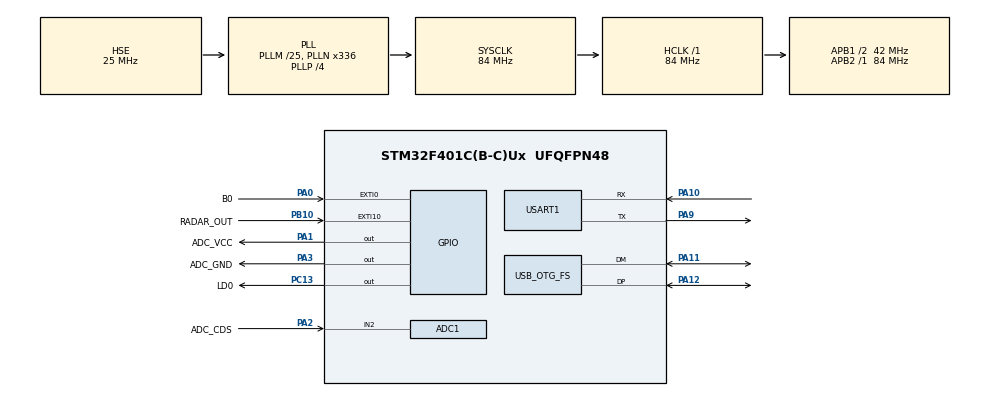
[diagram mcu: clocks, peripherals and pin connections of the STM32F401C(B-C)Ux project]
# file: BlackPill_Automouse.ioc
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ADC1.Channel-0\#ChannelRegularConversion=ADC_CHANNEL_TEMPSENSOR
ADC1.NbrOfConversionFlag=1
ADC1.Rank-0\#ChannelRegularConversion=1
ADC1.SamplingTime-0\#ChannelRegularConversion=ADC_SAMPLETIME_3CYCLES
ADC1.master=1
Mcu.Family=STM32F4
Mcu.Name=STM32F401C(B-C)Ux
Mcu.Package=UFQFPN48
NVIC.EXTI0_IRQn=true\:0\:0\:false\:false\:true\:true\:true\:true
NVIC.EXTI15_10_IRQn=true\:15\:0\:true\:false\:true\:true\:true\:true
NVIC.OTG_FS_IRQn=true\:0\:0\:false\:false\:true\:false\:true\:true
NVIC.PriorityGroup=NVIC_PRIORITYGROUP_4
NVIC.TIM1_TRG_COM_TIM11_IRQn=true\:15\:0\:false\:false\:true\:false\:true\:true
NVIC.TimeBase=TIM1_TRG_COM_TIM11_IRQn
NVIC.TimeBaseIP=TIM11
PA0-WKUP.GPIO_Label=B0
PA0-WKUP.GPIO_ModeDefaultEXTI=GPIO_MODE_IT_RISING_FALLING
PA0-WKUP.GPIO_PuPd=GPIO_PULLUP
PA0-WKUP.Signal=GPXTI0
PA1.GPIO_Label=ADC_VCC
PA1.Signal=GPIO_Output
PA10.Mode=Asynchronous
PA10.Signal=USART1_RX
PA11.Mode=Device_Only
PA11.Signal=USB_OTG_FS_DM
PA12.Mode=Device_Only
PA12.Signal=USB_OTG_FS_DP
PA13.Mode=Trace_Asynchronous_SW
PA13.Signal=SYS_JTMS-SWDIO
PA14.Mode=Trace_Asynchronous_SW
PA14.Signal=SYS_JTCK-SWCLK
PA2.GPIO_Label=ADC_CDS
PA2.Signal=ADCx_IN2
PA3.GPIO_Label=ADC_GND
PA3.Signal=GPIO_Output
PA9.Mode=Asynchronous
PA9.Signal=USART1_TX
PB10.GPIO_Label=RADAR_OUT
PB10.GPIO_ModeDefaultEXTI=GPIO_MODE_IT_RISING_FALLING
PB10.GPIO_PuPd=GPIO_PULLDOWN
PB10.Signal=GPXTI10
PB3.Mode=Trace_Asynchronous_SW
PB3.Signal=SYS_JTDO-SWO
PC13-ANTI_TAMP.GPIO_Label=LD0
PC13-ANTI_TAMP.Signal=GPIO_Output
PC14-OSC32_IN.Mode=LSE-External-Oscillator
PC14-OSC32_IN.Signal=RCC_OSC32_IN
PC15-OSC32_OUT.Mode=LSE-External-Oscillator
PC15-OSC32_OUT.Signal=RCC_OSC32_OUT
PH0\ -\ OSC_IN.Mode=HSE-External-Oscillator
PH0\ -\ OSC_IN.Signal=RCC_OSC_IN
PH1\ -\ OSC_OUT.Mode=HSE-External-Oscillator
PH1\ -\ OSC_OUT.Signal=RCC_OSC_OUT
ProjectManager.HeapSize=0x200
ProjectManager.StackSize=0x400
ProjectManager.TargetToolchain=STM32CubeIDE
RCC.48MHZClocksFreq_Value=48000000
RCC.AHBFreq_Value=84000000
RCC.APB1CLKDivider=RCC_HCLK_DIV2
RCC.APB1Freq_Value=42000000
RCC.APB1TimFreq_Value=84000000
RCC.APB2Freq_Value=84000000
RCC.APB2TimFreq_Value=84000000
RCC.CortexFreq_Value=84000000
RCC.EnbaleCSS=true
RCC.HCLKFreq_Value=84000000
RCC.HSE_VALUE=25000000
RCC.HSI_VALUE=16000000
RCC.PLLM=25
RCC.PLLN=336
RCC.PLLP=RCC_PLLP_DIV4
RCC.PLLQ=7
RCC.SYSCLKFreq_VALUE=84000000
RCC.SYSCLKSource=RCC_SYSCLKSOURCE_PLLCLK
RCC.VCOOutputFreq_Value=336000000
SH.ADCx_IN2.0=ADC1_IN2,IN2
USART1.VirtualMode=VM_ASYNC
USB_DEVICE.CLASS_NAME_FS=HID
USB_DEVICE.MANUFACTURER_STRING=Logitech
USB_DEVICE.PID_HID_FS=0xc521
USB_DEVICE.PRODUCT_STRING_HID_FS=USB Reciever
USB_DEVICE.VID=0x046D
USB_DEVICE.VirtualMode=Hid
USB_DEVICE.VirtualModeFS=Hid_FS
USB_OTG_FS.VirtualMode=Device_Only
VP_ADC1_TempSens_Input.Mode=IN-TempSens
VP_CRC_VS_CRC.Mode=CRC_Activate
VP_RTC_VS_RTC_Activate.Mode=RTC_Enabled
VP_SYS_VS_tim11.Mode=TIM11
VP_TIM5_VS_ClockSourceINT.Mode=Internal
VP_USB_DEVICE_VS_USB_DEVICE_HID_FS.Mode=HID_FS
board=custom

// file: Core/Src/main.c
/* USER CODE BEGIN Header */
/**
  ******************************************************************************
  * @file           : main.c
  * @brief          : Main program body
  ******************************************************************************
  * @attention
  *
  * Copyright (c) 2023 STMicroelectronics.
  * All rights reserved.
  *
  * This software is licensed under terms that can be found in the LICENSE file
  * in the root directory of this software component.
  * If no LICENSE file comes with this software, it is provided AS-IS.
  *
  ******************************************************************************
  */
/* USER CODE END Header */
#include "main.h"
#include "usb_device.h"

ADC_HandleTypeDef hadc1;

CRC_HandleTypeDef hcrc;

RTC_HandleTypeDef hrtc;

TIM_HandleTypeDef htim5;

UART_HandleTypeDef huart1;

void SystemClock_Config(void);
static void MX_GPIO_Init(void);
static void MX_ADC1_Init(void);
static void MX_CRC_Init(void);
static void MX_RTC_Init(void);
static void MX_TIM5_Init(void);
static void MX_USART1_UART_Init(void);

/* USER CODE BEGIN 0 */

#include "usbd_hid.h"
#include "math.h"

extern USBD_HandleTypeDef hUsbDeviceFS;

#define DEBUG_PRINT(...) do{\
	uint32_t tick = HAL_GetTick();\
	printf("[%6lu.%03lu]",tick/1000, tick%1000);\
	printf(__VA_ARGS__);\
	}while(0)

typedef struct {
	float x;
	float y;
	float z;
}Coordinate_t;

int8_t buffer[4] = {0,};
enum {
	click_e = 0,
	x_e,
	y_e,
	wheel_e
};
const float sigma = 10.0f;
const float beta = 8/3.0f;
const float rho = 28.0f;

Coordinate_t p = {1.0f, 1.0f, 1.0f};
Coordinate_t d = {0.0f, 0.0f, 0.0f};
Coordinate_t ip = {0.0f, 0.0f, 0.0f};
Coordinate_t id = {0.0f, 0.0f, 0.0f};

const float dt = 0.005f;

Coordinate_t plotCurr = {0.0f, 0.0f, 0.0f};
Coordinate_t plotPrev = {0.0f, 0.0f, 0.0f};
Coordinate_t plotDelta = {0.0f, 0.0f, 0.0f};

static uint32_t delay 	= 30;
static float 	amp 	= 2.0f;
int working_flag = 1;
int detect_flag = 0;
int expired_flag = 0;
const uint32_t expired_tick = 1000*60*60*9; // Approx. 9 Hours

Coordinate_t isometric_projection(Coordinate_t point){
	Coordinate_t ret = {0.0f, 0.0f, 0.0f};
	const static float rot_matrix[3][3] = {
		{sqrt(3)/sqrt(6), 		0, 					-1*sqrt(3)/sqrt(6)},
		{1/sqrt(6), 			2/sqrt(6), 	 		1/sqrt(6)},
		{sqrt(2)/sqrt(6), 		-1*sqrt(2)/sqrt(6), sqrt(2)/sqrt(6)}
	};
	ret.x = rot_matrix[0][0]*point.x + rot_matrix[0][1]*point.y + rot_matrix[0][2]*point.z;
	ret.y = rot_matrix[1][0]*point.x + rot_matrix[1][1]*point.y + rot_matrix[1][2]*point.z;
	ret.z = rot_matrix[2][0]*point.x + rot_matrix[2][1]*point.y + rot_matrix[2][2]*point.z;

	return ret;
}

void iterate(){
	/* Calculate Lorentz attractor */
	d.x = sigma*(p.y - p.x);
	d.y = p.x*(rho - p.z) - p.y;
	d.z = p.x*p.y - beta*p.z;
	d.x *= dt;
	d.y *= dt;
	d.z *= dt;
	p.x += d.x;
	p.y += d.y;
	p.z += d.z;
}

uint32_t RCC_PrintFlag(){
	uint32_t ret = 0;
	DEBUG_PRINT("Print ResetFlag\n");
	if ( __HAL_RCC_GET_FLAG(PWR_FLAG_SB)){
		DEBUG_PRINT("System resumed from STANDBY mode\n");
	}
	if(__HAL_RCC_GET_FLAG(RCC_FLAG_SFTRST) == SET)
	{
		DEBUG_PRINT("Software Reset\n"); ret++;
	}
	if(__HAL_RCC_GET_FLAG(RCC_FLAG_PORRST) == SET)
	{
		DEBUG_PRINT("Power on reset\n"); ret++;
	}
	if (__HAL_RCC_GET_FLAG(RCC_FLAG_PINRST) == SET)
	{
		DEBUG_PRINT("External reset\n"); ret++;
	}
	if(__HAL_RCC_GET_FLAG(RCC_FLAG_IWDGRST) == SET)
	{
		DEBUG_PRINT("WDT Reset\n"); ret++;
	}
	if(__HAL_RCC_GET_FLAG(RCC_FLAG_WWDGRST) == SET)
	{
		DEBUG_PRINT("Window WDT Reset\n"); ret++;
	}
	if(__HAL_RCC_GET_FLAG(RCC_FLAG_LPWRRST) == SET)
	{
		DEBUG_PRINT("Low Power Reset\n"); ret++;
	}
	//		if (__HAL_RCC_GET_FLAG(RCC_FLAG_BORRST) != RESET) // F4 Usually set with POR
	//		{
	//			printf("Brown-Out Reset\n"); ret++;
	//		}

	/* Clear source Reset Flag */
	__HAL_RCC_CLEAR_RESET_FLAGS();
	return ret;
}

uint32_t read_bkup_reg(){
	static int addr = 11;
	// Read
	uint32_t value = HAL_RTCEx_BKUPRead(&hrtc, addr);
	// Store toggled value
	HAL_RTCEx_BKUPWrite(&hrtc, addr, !value);
	// return
	return !value;
}
/* USER CODE END 0 */

int main(void)
{

  /* MCU Configuration--------------------------------------------------------*/

  /* Reset of all peripherals, Initializes the Flash interface and the Systick. */
  HAL_Init();

  /* Configure the system clock */
  SystemClock_Config();

  /* Initialize all configured peripherals */
  MX_GPIO_Init();
  MX_ADC1_Init();
  MX_CRC_Init();
  MX_RTC_Init();
  MX_TIM5_Init();
  MX_USART1_UART_Init();
  MX_USB_DEVICE_Init();
  /* USER CODE BEGIN 2 */

  HAL_GPIO_EXTI_Callback(RADAR_OUT_Pin); // Update first status

  uint8_t buffer[4];
  buffer[0]=0;//buttons first 3 bits
  buffer[1]=100;//X axis 8bit value signed
  buffer[2]=0;//Y axis 8bit value signed
  buffer[3]=0;//Wheel 8bit value signed

	DEBUG_PRINT("Lorenz Attractor\n");
	HAL_Delay(3000);

	DEBUG_PRINT("Waiting for 2seconds... \n");
	for(int i = 0; i < 20; i++){
		HAL_GPIO_TogglePin(LD0_GPIO_Port, LD0_Pin);
		HAL_Delay(100);
	}

	DEBUG_PRINT("Working Test...\n");
	for(int i = 0; i< 20; i++){
		switch(i%4){
		case 0:
			buffer[x_e] = 100;
			buffer[y_e] = 0;
			break;
		case 1:
			buffer[x_e] = 0;
			buffer[y_e] = 100;
			break;
		case 2:
			buffer[x_e] = -100;
			buffer[y_e] = 0;
			break;
		case 3:
			buffer[x_e] = 0;
			buffer[y_e] = -100;
			break;
		}
		USBD_HID_SendReport(&hUsbDeviceFS, (uint8_t *)buffer, 4);
		HAL_Delay(100);
	}
	DEBUG_PRINT("Running Lorenz Attractor...\n");

	while(1)
	{
//		for(int i = 0; i<100000; i++)
		iterate();

		/* Print Axis Value */
#if 0
		DEBUG_PRINT(" x:%6.03f\t y:%6.03f\t z:%6.03f\t\n",p.x,p.y,p.z);
		DEBUG_PRINT("dx:%6.03f\tdy:%6.03f\tdz:%6.03f\t\n",d.x,d.y,d.z);
#endif

		/* Isometric Rotation */
		ip = isometric_projection(p);
#if 0
		DEBUG_PRINT(" x:%6.03f\t y:%6.03f\t z:%6.03f\t\n",ip.x,ip.y,ip.z);
#endif

		/* Plotting */
		plotCurr = ip;
		plotCurr.x *= amp;
		plotCurr.y *= amp;
		plotCurr.z *= amp;
		// To digitize int
		plotDelta.x = roundf(plotCurr.x - plotPrev.x);
		plotDelta.y = roundf(plotCurr.y - plotPrev.y);
		plotDelta.z = roundf(plotCurr.z - plotPrev.z);

		plotPrev.x += plotDelta.x;
		plotPrev.y += plotDelta.y;
		plotPrev.z += plotDelta.z;
#if 0
		DEBUG_PRINT(" x:%6.03f\t y:%6.03f\t z:%6.03f\t\n",plotCurr.x,plotCurr.y,plotCurr.z);
		DEBUG_PRINT("dx:%6.03f\tdy:%6.03f\tdz:%6.03f\t\n",plotDelta.x,plotDelta.y,plotDelta.z);
		printf("\n");
#endif

		/* Send USB Buffer */
		buffer[x_e] = (int8_t) (plotDelta.x);
		buffer[y_e] = (int8_t) (plotDelta.y);

		uint32_t curr_tick = HAL_GetTick();
		if(curr_tick > expired_tick)
		{
			expired_flag = 1;
			working_flag = 0;
		}

		if(working_flag | (!detect_flag))
		{
			USBD_HID_SendReport(&hUsbDeviceFS, (uint8_t *)buffer, 4);
		} else {
			// Just Do Nothing.

			const uint8_t buffer_empty[4] = {0,0,0,0};
			USBD_HID_SendReport(&hUsbDeviceFS, (uint8_t *)buffer_empty, 4);

		}

		/* Delay */
		HAL_Delay(delay);

		/* Working LED Indicator */
		static uint32_t i = 0;
		if(!(i++%(100/delay))){ // about 10Hz
			static uint8_t blink[20] = {0,1,0,1,1, 1,1,1,1,1, 1,1,1,1,1, 1,1,1,1,1};
			static uint8_t blink_nw[20] = {0,1,1,1,1, 1,1,1,1,1, 1,1,1,1,1, 1,1,1,1,1};
			static uint8_t blink_detect[20] = {0,1,0,1,0, 0,0,1,1,1, 1,1,1,1,1, 1,1,1,1,1};
			static uint8_t blink_expired[20] = {0,0,0,0,0, 0,0,0,0,0, 1,1,1,1,1, 1,1,1,1,1};
			static uint8_t cnt = 0;

			if(!detect_flag)
			{
				HAL_GPIO_WritePin(LD0_GPIO_Port, LD0_Pin, blink_detect[cnt]);
			} else if(working_flag){
				HAL_GPIO_WritePin(LD0_GPIO_Port, LD0_Pin, blink[cnt]);
			} else if(expired_flag){
				HAL_GPIO_WritePin(LD0_GPIO_Port, LD0_Pin, blink_expired[cnt]);
			} else {
				HAL_GPIO_WritePin(LD0_GPIO_Port, LD0_Pin, blink_nw[cnt]);
			}
			cnt++;
			if(sizeof(blink) <= cnt)
				cnt = 0;
//			DEBUG_PRINT("Led Toggle\n");
		}

	}

  /* USER CODE END 2 */

  /* Infinite loop */
  while (1)
  {

  }
}

void SystemClock_Config(void)
{
  RCC_OscInitTypeDef RCC_OscInitStruct = {0};
  RCC_ClkInitTypeDef RCC_ClkInitStruct = {0};

  /** Configure the main internal regulator output voltage
  */
  __HAL_RCC_PWR_CLK_ENABLE();
  __HAL_PWR_VOLTAGESCALING_CONFIG(PWR_REGULATOR_VOLTAGE_SCALE2);

  /** Initializes the RCC Oscillators according to the specified parameters
  * in the RCC_OscInitTypeDef structure.
  */
  RCC_OscInitStruct.OscillatorType = RCC_OSCILLATORTYPE_LSI|RCC_OSCILLATORTYPE_HSE;
  RCC_OscInitStruct.HSEState = RCC_HSE_ON;
  RCC_OscInitStruct.LSIState = RCC_LSI_ON;
  RCC_OscInitStruct.PLL.PLLState = RCC_PLL_ON;
  RCC_OscInitStruct.PLL.PLLSource = RCC_PLLSOURCE_HSE;
  RCC_OscInitStruct.PLL.PLLM = 25;
  RCC_OscInitStruct.PLL.PLLN = 336;
  RCC_OscInitStruct.PLL.PLLP = RCC_PLLP_DIV4;
  RCC_OscInitStruct.PLL.PLLQ = 7;
  if (HAL_RCC_OscConfig(&RCC_OscInitStruct) != HAL_OK)
  {
    Error_Handler();
  }

  /** Initializes the CPU, AHB and APB buses clocks
  */
  RCC_ClkInitStruct.ClockType = RCC_CLOCKTYPE_HCLK|RCC_CLOCKTYPE_SYSCLK
                              |RCC_CLOCKTYPE_PCLK1|RCC_CLOCKTYPE_PCLK2;
  RCC_ClkInitStruct.SYSCLKSource = RCC_SYSCLKSOURCE_PLLCLK;
  RCC_ClkInitStruct.AHBCLKDivider = RCC_SYSCLK_DIV1;
  RCC_ClkInitStruct.APB1CLKDivider = RCC_HCLK_DIV2;
  RCC_ClkInitStruct.APB2CLKDivider = RCC_HCLK_DIV1;

  if (HAL_RCC_ClockConfig(&RCC_ClkInitStruct, FLASH_LATENCY_2) != HAL_OK)
  {
    Error_Handler();
  }

  /** Enables the Clock Security System
  */
  HAL_RCC_EnableCSS();
}

static void MX_ADC1_Init(void)
{

  ADC_ChannelConfTypeDef sConfig = {0};

  /** Configure the global features of the ADC (Clock, Resolution, Data Alignment and number of conversion)
  */
  hadc1.Instance = ADC1;
  hadc1.Init.ClockPrescaler = ADC_CLOCK_SYNC_PCLK_DIV4;
  hadc1.Init.Resolution = ADC_RESOLUTION_12B;
  hadc1.Init.ScanConvMode = DISABLE;
  hadc1.Init.ContinuousConvMode = DISABLE;
  hadc1.Init.DiscontinuousConvMode = DISABLE;
  hadc1.Init.ExternalTrigConvEdge = ADC_EXTERNALTRIGCONVEDGE_NONE;
  hadc1.Init.ExternalTrigConv = ADC_SOFTWARE_START;
  hadc1.Init.DataAlign = ADC_DATAALIGN_RIGHT;
  hadc1.Init.NbrOfConversion = 1;
  hadc1.Init.DMAContinuousRequests = DISABLE;
  hadc1.Init.EOCSelection = ADC_EOC_SINGLE_CONV;
  if (HAL_ADC_Init(&hadc1) != HAL_OK)
  {
    Error_Handler();
  }

  /** Configure for the selected ADC regular channel its corresponding rank in the sequencer and its sample time.
  */
  sConfig.Channel = ADC_CHANNEL_TEMPSENSOR;
  sConfig.Rank = 1;
  sConfig.SamplingTime = ADC_SAMPLETIME_3CYCLES;
  if (HAL_ADC_ConfigChannel(&hadc1, &sConfig) != HAL_OK)
  {
    Error_Handler();
  }

}

static void MX_CRC_Init(void)
{

  hcrc.Instance = CRC;
  if (HAL_CRC_Init(&hcrc) != HAL_OK)
  {
    Error_Handler();
  }

}

static void MX_RTC_Init(void)
{

  /** Initialize RTC Only
  */
  hrtc.Instance = RTC;
  hrtc.Init.HourFormat = RTC_HOURFORMAT_24;
  hrtc.Init.AsynchPrediv = 127;
  hrtc.Init.SynchPrediv = 255;
  hrtc.Init.OutPut = RTC_OUTPUT_DISABLE;
  hrtc.Init.OutPutPolarity = RTC_OUTPUT_POLARITY_HIGH;
  hrtc.Init.OutPutType = RTC_OUTPUT_TYPE_OPENDRAIN;
  if (HAL_RTC_Init(&hrtc) != HAL_OK)
  {
    Error_Handler();
  }

}

static void MX_TIM5_Init(void)
{

  TIM_ClockConfigTypeDef sClockSourceConfig = {0};
  TIM_MasterConfigTypeDef sMasterConfig = {0};

  htim5.Instance = TIM5;
  htim5.Init.Prescaler = 0;
  htim5.Init.CounterMode = TIM_COUNTERMODE_UP;
  htim5.Init.Period = 4294967295;
  htim5.Init.ClockDivision = TIM_CLOCKDIVISION_DIV1;
  htim5.Init.AutoReloadPreload = TIM_AUTORELOAD_PRELOAD_DISABLE;
  if (HAL_TIM_Base_Init(&htim5) != HAL_OK)
  {
    Error_Handler();
  }
  sClockSourceConfig.ClockSource = TIM_CLOCKSOURCE_INTERNAL;
  if (HAL_TIM_ConfigClockSource(&htim5, &sClockSourceConfig) != HAL_OK)
  {
    Error_Handler();
  }
  sMasterConfig.MasterOutputTrigger = TIM_TRGO_RESET;
  sMasterConfig.MasterSlaveMode = TIM_MASTERSLAVEMODE_DISABLE;
  if (HAL_TIMEx_MasterConfigSynchronization(&htim5, &sMasterConfig) != HAL_OK)
  {
    Error_Handler();
  }

}

static void MX_USART1_UART_Init(void)
{

  huart1.Instance = USART1;
  huart1.Init.BaudRate = 115200;
  huart1.Init.WordLength = UART_WORDLENGTH_8B;
  huart1.Init.StopBits = UART_STOPBITS_1;
  huart1.Init.Parity = UART_PARITY_NONE;
  huart1.Init.Mode = UART_MODE_TX_RX;
  huart1.Init.HwFlowCtl = UART_HWCONTROL_NONE;
  huart1.Init.OverSampling = UART_OVERSAMPLING_16;
  if (HAL_UART_Init(&huart1) != HAL_OK)
  {
    Error_Handler();
  }

}

static void MX_GPIO_Init(void)
{
  GPIO_InitTypeDef GPIO_InitStruct = {0};

  /* GPIO Ports Clock Enable */
  __HAL_RCC_GPIOC_CLK_ENABLE();
  __HAL_RCC_GPIOH_CLK_ENABLE();
  __HAL_RCC_GPIOA_CLK_ENABLE();
  __HAL_RCC_GPIOB_CLK_ENABLE();

  /*Configure GPIO pin Output Level */
  HAL_GPIO_WritePin(LD0_GPIO_Port, LD0_Pin, GPIO_PIN_RESET);

  /*Configure GPIO pin Output Level */
  HAL_GPIO_WritePin(GPIOA, ADC_VCC_Pin|ADC_GND_Pin, GPIO_PIN_RESET);

  /*Configure GPIO pin : LD0_Pin */
  GPIO_InitStruct.Pin = LD0_Pin;
  GPIO_InitStruct.Mode = GPIO_MODE_OUTPUT_PP;
  GPIO_InitStruct.Pull = GPIO_NOPULL;
  GPIO_InitStruct.Speed = GPIO_SPEED_FREQ_LOW;
  HAL_GPIO_Init(LD0_GPIO_Port, &GPIO_InitStruct);

  /*Configure GPIO pin : B0_Pin */
  GPIO_InitStruct.Pin = B0_Pin;
  GPIO_InitStruct.Mode = GPIO_MODE_IT_RISING_FALLING;
  GPIO_InitStruct.Pull = GPIO_PULLUP;
  HAL_GPIO_Init(B0_GPIO_Port, &GPIO_InitStruct);

  /*Configure GPIO pins : ADC_VCC_Pin ADC_GND_Pin */
  GPIO_InitStruct.Pin = ADC_VCC_Pin|ADC_GND_Pin;
  GPIO_InitStruct.Mode = GPIO_MODE_OUTPUT_PP;
  GPIO_InitStruct.Pull = GPIO_NOPULL;
  GPIO_InitStruct.Speed = GPIO_SPEED_FREQ_LOW;
  HAL_GPIO_Init(GPIOA, &GPIO_InitStruct);

  /*Configure GPIO pin : RADAR_OUT_Pin */
  GPIO_InitStruct.Pin = RADAR_OUT_Pin;
  GPIO_InitStruct.Mode = GPIO_MODE_IT_RISING_FALLING;
  GPIO_InitStruct.Pull = GPIO_PULLDOWN;
  HAL_GPIO_Init(RADAR_OUT_GPIO_Port, &GPIO_InitStruct);

  /* EXTI interrupt init*/
  HAL_NVIC_SetPriority(EXTI0_IRQn, 0, 0);
  HAL_NVIC_EnableIRQ(EXTI0_IRQn);

  HAL_NVIC_SetPriority(EXTI15_10_IRQn, 15, 0);
  HAL_NVIC_EnableIRQ(EXTI15_10_IRQn);

}

void HAL_TIM_PeriodElapsedCallback(TIM_HandleTypeDef *htim)
{
  if (htim->Instance == TIM11) {
    HAL_IncTick();
  }
}

void Error_Handler(void)
{
  __disable_irq();
  while (1)
  {
  }
}
